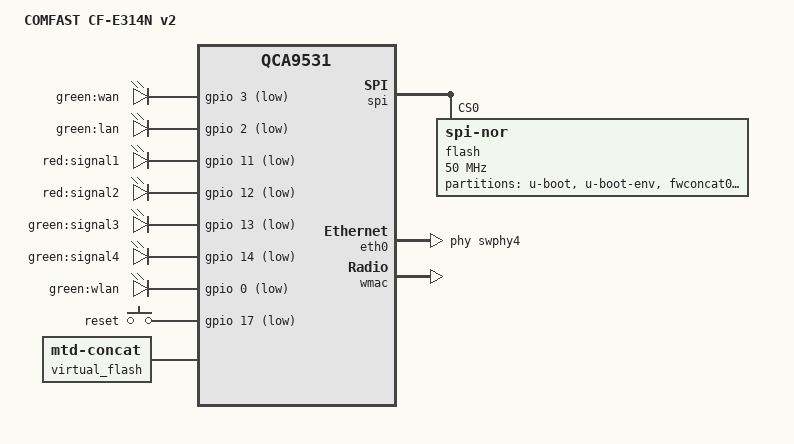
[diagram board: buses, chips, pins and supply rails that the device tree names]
// SPDX-License-Identifier: GPL-2.0-or-later OR MIT

#include "qca953x.dtsi"

#include <dt-bindings/gpio/gpio.h>
#include <dt-bindings/input/input.h>
#include <dt-bindings/mtd/partitions/uimage.h>

/ {
	compatible = "comfast,cf-e314n-v2", "qca,qca9531";
	model = "COMFAST CF-E314N v2";

	aliases {
		serial0 = &uart;
		led-boot = &led_rssihigh;
		led-failsafe = &led_rssihigh;
		led-upgrade = &led_rssihigh;
	};

	leds {
		compatible = "gpio-leds";

		pinctrl-names = "default";
		pinctrl-0 = <&jtag_disable_pins &led_rssilow_pin &led_rssimediumhigh_pin &led_rssihigh_pin>;

		wan {
			label = "green:wan";
			gpios = <&gpio 3 GPIO_ACTIVE_LOW>;
		};

		lan {
			label = "green:lan";
			gpios = <&gpio 2 GPIO_ACTIVE_LOW>;
		};

		rssilow {
			label = "red:signal1";
			gpios = <&gpio 11 GPIO_ACTIVE_LOW>;
		};

		rssimediumlow {
			label = "red:signal2";
			gpios = <&gpio 12 GPIO_ACTIVE_LOW>;
		};

		rssimediumhigh {
			label = "green:signal3";
			gpios = <&gpio 13 GPIO_ACTIVE_LOW>;
		};

		led_rssihigh: rssihigh {
			label = "green:signal4";
			gpios = <&gpio 14 GPIO_ACTIVE_LOW>;
		};

		wlan {
			label = "green:wlan";
			gpios = <&gpio 0 GPIO_ACTIVE_LOW>;
			linux,default-trigger = "phy0tpt";
		};
	};

	keys {
		compatible = "gpio-keys";

		reset {
			label = "reset";
			linux,code = <KEY_RESTART>;
			gpios = <&gpio 17 GPIO_ACTIVE_LOW>;
			debounce-interval = <60>;
		};
	};
	
	virtual_flash {
		compatible = "mtd-concat";
		devices = <&fwconcat0 &fwconcat1>;

		partitions {
			compatible = "fixed-partitions";
			#address-cells = <1>;
			#size-cells = <1>;

			partition@0 {
				reg = <0x0 0x0>;
				label = "firmware";
				compatible = "openwrt,uimage", "denx,uimage";
				openwrt,ih-magic = <IH_MAGIC_OKLI>;
			};
		};
	};
};

&pinmux {
	led_rssilow_pin: pinmux_rssilow_pin {
		pinctrl-single,bits = <0x8 0x0 0xff000000>;
	};

	led_rssimediumhigh_pin: pinmux_rssimediumhigh_pin {
		pinctrl-single,bits = <0xc 0x0 0x00ff0000>;
	};

	led_rssihigh_pin: pinmux_rssihigh_pin {
		pinctrl-single,bits = <0x10 0x0 0x000000ff>;
	};
};

&spi {
	status = "okay";

	flash@0 {
		compatible = "jedec,spi-nor";
		reg = <0>;
		spi-max-frequency = <50000000>;
		m25p,fast-read;

		partitions {
			compatible = "fixed-partitions";
			#address-cells = <1>;
			#size-cells = <1>;

			partition@0 {
				label = "u-boot";
				reg = <0x0 0x40000>;
				read-only;
			};

			partition@40000 {
				label = "u-boot-env";
				reg = <0x40000 0x10000>;
				read-only;
			};

			fwconcat0: partition@50000 {
				label = "fwconcat0";
				reg = <0x50000 0xe30000>;
			};

			partition@e80000 {
				label = "loader";
				reg = <0xe80000 0x10000>;
			};

			fwconcat1: partition@e90000 {
				label = "fwconcat1";
				reg = <0xe90000 0x160000>;
			};

			art: partition@ff0000 {
				label = "art";
				reg = <0xff0000 0x10000>;
				read-only;
			};
		};
	};
};

&eth0 {
	status = "okay";

	phy-handle = <&swphy4>;

	nvmem-cells = <&macaddr_art_0>;
	nvmem-cell-names = "mac-address";
};

&eth1 {
	nvmem-cells = <&macaddr_art_6>;
	nvmem-cell-names = "mac-address";
};

&wmac {
	status = "okay";
	
	mtd-cal-data = <&art 0x1000>;
};

&art {
	compatible = "nvmem-cells";
	#address-cells = <1>;
	#size-cells = <1>;

	macaddr_art_0: macaddr@0 {
		reg = <0x0 0x6>;
	};

	macaddr_art_6: macaddr@6 {
		reg = <0x6 0x6>;
	};
};
